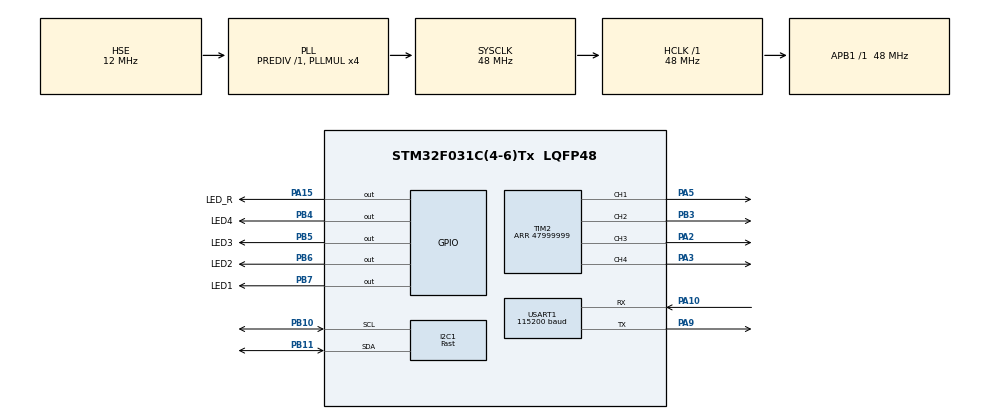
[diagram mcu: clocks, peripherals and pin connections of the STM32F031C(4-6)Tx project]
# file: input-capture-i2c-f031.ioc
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ADC.LowPowerAutoPowerOff=ENABLE
ADC.LowPowerAutoWait=ENABLE
ADC.SamplingTime=ADC_SAMPLETIME_239CYCLES_5
I2C1.I2C_Speed_Mode=I2C_Fast
I2C1.OwnAddress=4
I2C1.Timing=0x2010091A
Mcu.Family=STM32F0
Mcu.Name=STM32F031C(4-6)Tx
Mcu.Package=LQFP48
NVIC.ADC1_IRQn=true\:3\:0\:true\:false\:true\:true\:true\:true
NVIC.I2C1_IRQn=true\:1\:0\:true\:false\:true\:true\:true\:true
NVIC.TIM14_IRQn=true\:2\:0\:true\:false\:true\:true\:true\:true
NVIC.TIM2_IRQn=true\:0\:0\:false\:false\:true\:true\:true\:true
NVIC.USART1_IRQn=true\:3\:0\:true\:false\:true\:true\:true\:true
PA10.Mode=Asynchronous
PA10.Signal=USART1_RX
PA13.Mode=Serial_Wire
PA13.Signal=SYS_SWDIO
PA14.Mode=Serial_Wire
PA14.Signal=SYS_SWCLK
PA15.GPIO_Label=LED_R
PA15.Signal=GPIO_Output
PA2.Signal=S_TIM2_CH3
PA3.Signal=S_TIM2_CH4
PA5.Signal=S_TIM2_CH1_ETR
PA9.Mode=Asynchronous
PA9.Signal=USART1_TX
PB10.GPIO_Pu=GPIO_PULLUP
PB10.Mode=I2C
PB10.Signal=I2C1_SCL
PB11.GPIO_Pu=GPIO_PULLUP
PB11.Mode=I2C
PB11.Signal=I2C1_SDA
PB3.Signal=S_TIM2_CH2
PB4.GPIO_Label=LED4
PB4.Signal=GPIO_Output
PB5.GPIO_Label=LED3
PB5.Signal=GPIO_Output
PB6.GPIO_Label=LED2
PB6.Signal=GPIO_Output
PB7.GPIO_Label=LED1
PB7.Signal=GPIO_Output
PC14-OSC32_IN.Mode=LSE-External-Oscillator
PC14-OSC32_IN.Signal=RCC_OSC32_IN
PC15-OSC32_OUT.Mode=LSE-External-Oscillator
PC15-OSC32_OUT.Signal=RCC_OSC32_OUT
PF0-OSC_IN.Mode=HSE-External-Clock-Source
PF0-OSC_IN.Signal=RCC_OSC_IN
ProjectManager.HeapSize=0x200
ProjectManager.StackSize=0x400
ProjectManager.TargetToolchain=SW4STM32
RCC.AHBFreq_Value=48000000
RCC.APB1Freq_Value=48000000
RCC.APB1TimFreq_Value=48000000
RCC.HCLKFreq_Value=48000000
RCC.HSE_VALUE=12000000
RCC.I2c1ClockSelection=RCC_I2C1CLKSOURCE_SYSCLK
RCC.LSE_Drive_Capability=RCC_LSEDRIVE_LOW
RCC.PLLMUL=RCC_PLL_MUL4
RCC.PLLSourceVirtual=RCC_PLLSOURCE_HSE
RCC.RCC_MCODiv=RCC_MCODIV_128
RCC.RCC_MCOSource=RCC_MCO1SOURCE_LSE
RCC.RTCClockSelection=RCC_RTCCLKSOURCE_LSE
RCC.SYSCLKFreq_VALUE=48000000
RCC.SYSCLKSource=RCC_SYSCLKSOURCE_PLLCLK
RTC.AsynchPrediv=31
RTC.SynchPrediv=1023
SH.S_TIM2_CH1_ETR.0=TIM2_CH1,PWM Generation1 CH1
SH.S_TIM2_CH2.0=TIM2_CH2,PWM Generation2 CH2
SH.S_TIM2_CH3.0=TIM2_CH3,PWM Generation3 CH3
SH.S_TIM2_CH4.0=TIM2_CH4,PWM Generation4 CH4
TIM14.Channel=TIM_CHANNEL_1
TIM14.ICPrescaler=TIM_ICPSC_DIV8
TIM14.Period=65535
TIM14.Prescaler=0
TIM14.TIM14_TI1_REMAP=TIM_TIM14_MCO
TIM2.Channel-PWM\ Generation1\ CH1=TIM_CHANNEL_1
TIM2.Channel-PWM\ Generation2\ CH2=TIM_CHANNEL_2
TIM2.Channel-PWM\ Generation3\ CH3=TIM_CHANNEL_3
TIM2.Channel-PWM\ Generation4\ CH4=TIM_CHANNEL_4
TIM2.Period=47999999
TIM2.Pulse-PWM\ Generation1\ CH1=48000
TIM2.Pulse-PWM\ Generation2\ CH2=48000
TIM2.Pulse-PWM\ Generation3\ CH3=48000
TIM2.Pulse-PWM\ Generation4\ CH4=48000
TIM2.TIM_MasterOutputTrigger=TIM_TRGO_UPDATE
USART1.BaudRate=115200
USART1.VirtualMode-Asynchronous=VM_ASYNC
VP_ADC_TempSens_Input.Mode=IN-TempSens
VP_ADC_Vbat_Input.Mode=IN-Vbat
VP_ADC_Vref_Input.Mode=IN-Vrefint
VP_RTC_VS_RTC_Activate.Mode=RTC_Enabled
VP_TIM14_VS_ClockSourceINT.Mode=Enable_Timer
VP_TIM14_VS_NoInput1.Mode=Input_Capture1_from_TI1_REMAP_TIM14
VP_TIM2_VS_ClockSourceINT.Mode=Internal
board=input-capture-i2c-f031

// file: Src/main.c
/* USER CODE BEGIN Header */
/**
  ******************************************************************************
  * @file           : main.c
  * @brief          : Main program body
  ******************************************************************************
  * @attention
  *
  * Copyright (c) 2022 STMicroelectronics.
  * All rights reserved.
  *
  * This software is licensed under terms that can be found in the LICENSE file
  * in the root directory of this software component.
  * If no LICENSE file comes with this software, it is provided AS-IS.
  *
  ******************************************************************************
  */
/* USER CODE END Header */
#include "main.h"

/* USER CODE BEGIN Includes */
#include "uart.h"
#include "timer.h"
#include "i2c_slave.h"
#include "adc.h"
/* USER CODE END Includes */

 ADC_HandleTypeDef hadc;

I2C_HandleTypeDef hi2c1;

RTC_HandleTypeDef hrtc;

TIM_HandleTypeDef htim2;
TIM_HandleTypeDef htim14;

UART_HandleTypeDef huart1;

/* USER CODE BEGIN PV */
/* Private variables ---------------------------------------------------------*/

/* USER CODE END PV */

void SystemClock_Config(void);
static void MX_GPIO_Init(void);
static void MX_ADC_Init(void);
static void MX_I2C1_Init(void);
static void MX_RTC_Init(void);
static void MX_TIM2_Init(void);
static void MX_TIM14_Init(void);
static void MX_USART1_UART_Init(void);
/* USER CODE BEGIN PFP */
/* Private function prototypes -----------------------------------------------*/

/* USER CODE END PFP */

int main(void)
{

  /* MCU Configuration--------------------------------------------------------*/

  /* Reset of all peripherals, Initializes the Flash interface and the Systick. */
  HAL_Init();

  /* Configure the system clock */
  SystemClock_Config();

  /* Initialize all configured peripherals */
  MX_GPIO_Init();
  MX_ADC_Init();
  MX_I2C1_Init();
  MX_RTC_Init();
  MX_TIM2_Init();
  MX_TIM14_Init();
  MX_USART1_UART_Init();
  /* USER CODE BEGIN 2 */
  HAL_ADCEx_Calibration_Start(&hadc);
  i2c_slave_start();
  timer_start();
  rtc_start();
  /* USER CODE END 2 */

  /* Infinite loop */
  while (1)
  {

    /* USER CODE BEGIN 3 */
#define COUNT_PER_MS 48000
    uint32_t next_adc = 50 * COUNT_PER_MS; // start at 50ms
    while(1) {
      while(__HAL_TIM_GET_COUNTER(&htim2) < next_adc) { }
      adc_poll();
      next_adc += 100 * COUNT_PER_MS; // every 100ms
      if(next_adc > 1000 * COUNT_PER_MS) {
        break;
      }
    }
    // happens after 950ms
    update_adc();

    adjust_pps();

    // wait till wrap to 0ms
    while(__HAL_TIM_GET_COUNTER(&htim2) >= 950 * COUNT_PER_MS) { }
  }
  /* USER CODE END 3 */
}

void SystemClock_Config(void)
{
  RCC_OscInitTypeDef RCC_OscInitStruct = {0};
  RCC_ClkInitTypeDef RCC_ClkInitStruct = {0};
  RCC_PeriphCLKInitTypeDef PeriphClkInit = {0};

  /** Configure LSE Drive Capability
  */
  HAL_PWR_EnableBkUpAccess();
  __HAL_RCC_LSEDRIVE_CONFIG(RCC_LSEDRIVE_LOW);

  /** Initializes the RCC Oscillators according to the specified parameters
  * in the RCC_OscInitTypeDef structure.
  */
  RCC_OscInitStruct.OscillatorType = RCC_OSCILLATORTYPE_HSI14|RCC_OSCILLATORTYPE_HSE
                              |RCC_OSCILLATORTYPE_LSE;
  RCC_OscInitStruct.HSEState = RCC_HSE_BYPASS;
  RCC_OscInitStruct.LSEState = RCC_LSE_ON;
  RCC_OscInitStruct.HSI14State = RCC_HSI14_ON;
  RCC_OscInitStruct.HSI14CalibrationValue = 16;
  RCC_OscInitStruct.PLL.PLLState = RCC_PLL_ON;
  RCC_OscInitStruct.PLL.PLLSource = RCC_PLLSOURCE_HSE;
  RCC_OscInitStruct.PLL.PLLMUL = RCC_PLL_MUL4;
  RCC_OscInitStruct.PLL.PREDIV = RCC_PREDIV_DIV1;
  if (HAL_RCC_OscConfig(&RCC_OscInitStruct) != HAL_OK)
  {
    Error_Handler();
  }

  /** Initializes the CPU, AHB and APB buses clocks
  */
  RCC_ClkInitStruct.ClockType = RCC_CLOCKTYPE_HCLK|RCC_CLOCKTYPE_SYSCLK
                              |RCC_CLOCKTYPE_PCLK1;
  RCC_ClkInitStruct.SYSCLKSource = RCC_SYSCLKSOURCE_PLLCLK;
  RCC_ClkInitStruct.AHBCLKDivider = RCC_SYSCLK_DIV1;
  RCC_ClkInitStruct.APB1CLKDivider = RCC_HCLK_DIV1;

  if (HAL_RCC_ClockConfig(&RCC_ClkInitStruct, FLASH_LATENCY_1) != HAL_OK)
  {
    Error_Handler();
  }
  PeriphClkInit.PeriphClockSelection = RCC_PERIPHCLK_USART1|RCC_PERIPHCLK_I2C1
                              |RCC_PERIPHCLK_RTC;
  PeriphClkInit.Usart1ClockSelection = RCC_USART1CLKSOURCE_PCLK1;
  PeriphClkInit.I2c1ClockSelection = RCC_I2C1CLKSOURCE_SYSCLK;
  PeriphClkInit.RTCClockSelection = RCC_RTCCLKSOURCE_LSE;
  if (HAL_RCCEx_PeriphCLKConfig(&PeriphClkInit) != HAL_OK)
  {
    Error_Handler();
  }
  HAL_RCC_MCOConfig(RCC_MCO, RCC_MCO1SOURCE_LSE, RCC_MCODIV_128);
}

static void MX_ADC_Init(void)
{

  ADC_ChannelConfTypeDef sConfig = {0};

  /** Configure the global features of the ADC (Clock, Resolution, Data Alignment and number of conversion)
  */
  hadc.Instance = ADC1;
  hadc.Init.ClockPrescaler = ADC_CLOCK_ASYNC_DIV1;
  hadc.Init.Resolution = ADC_RESOLUTION_12B;
  hadc.Init.DataAlign = ADC_DATAALIGN_RIGHT;
  hadc.Init.ScanConvMode = ADC_SCAN_DIRECTION_FORWARD;
  hadc.Init.EOCSelection = ADC_EOC_SINGLE_CONV;
  hadc.Init.LowPowerAutoWait = ENABLE;
  hadc.Init.LowPowerAutoPowerOff = ENABLE;
  hadc.Init.ContinuousConvMode = DISABLE;
  hadc.Init.DiscontinuousConvMode = DISABLE;
  hadc.Init.ExternalTrigConv = ADC_SOFTWARE_START;
  hadc.Init.ExternalTrigConvEdge = ADC_EXTERNALTRIGCONVEDGE_NONE;
  hadc.Init.DMAContinuousRequests = DISABLE;
  hadc.Init.Overrun = ADC_OVR_DATA_PRESERVED;
  if (HAL_ADC_Init(&hadc) != HAL_OK)
  {
    Error_Handler();
  }

  /** Configure for the selected ADC regular channel to be converted.
  */
  sConfig.Channel = ADC_CHANNEL_TEMPSENSOR;
  sConfig.Rank = ADC_RANK_CHANNEL_NUMBER;
  sConfig.SamplingTime = ADC_SAMPLETIME_239CYCLES_5;
  if (HAL_ADC_ConfigChannel(&hadc, &sConfig) != HAL_OK)
  {
    Error_Handler();
  }

  /** Configure for the selected ADC regular channel to be converted.
  */
  sConfig.Channel = ADC_CHANNEL_VREFINT;
  if (HAL_ADC_ConfigChannel(&hadc, &sConfig) != HAL_OK)
  {
    Error_Handler();
  }

  /** Configure for the selected ADC regular channel to be converted.
  */
  sConfig.Channel = ADC_CHANNEL_VBAT;
  if (HAL_ADC_ConfigChannel(&hadc, &sConfig) != HAL_OK)
  {
    Error_Handler();
  }

}

static void MX_I2C1_Init(void)
{

  hi2c1.Instance = I2C1;
  hi2c1.Init.Timing = 0x2010091A;
  hi2c1.Init.OwnAddress1 = 8;
  hi2c1.Init.AddressingMode = I2C_ADDRESSINGMODE_7BIT;
  hi2c1.Init.DualAddressMode = I2C_DUALADDRESS_DISABLE;
  hi2c1.Init.OwnAddress2 = 0;
  hi2c1.Init.OwnAddress2Masks = I2C_OA2_NOMASK;
  hi2c1.Init.GeneralCallMode = I2C_GENERALCALL_DISABLE;
  hi2c1.Init.NoStretchMode = I2C_NOSTRETCH_DISABLE;
  if (HAL_I2C_Init(&hi2c1) != HAL_OK)
  {
    Error_Handler();
  }

  /** Configure Analogue filter
  */
  if (HAL_I2CEx_ConfigAnalogFilter(&hi2c1, I2C_ANALOGFILTER_ENABLE) != HAL_OK)
  {
    Error_Handler();
  }

  /** Configure Digital filter
  */
  if (HAL_I2CEx_ConfigDigitalFilter(&hi2c1, 0) != HAL_OK)
  {
    Error_Handler();
  }

}

static void MX_RTC_Init(void)
{

  /** Initialize RTC Only
  */
  hrtc.Instance = RTC;
  hrtc.Init.HourFormat = RTC_HOURFORMAT_24;
  hrtc.Init.AsynchPrediv = 31;
  hrtc.Init.SynchPrediv = 1023;
  hrtc.Init.OutPut = RTC_OUTPUT_DISABLE;
  hrtc.Init.OutPutPolarity = RTC_OUTPUT_POLARITY_HIGH;
  hrtc.Init.OutPutType = RTC_OUTPUT_TYPE_OPENDRAIN;
  if (HAL_RTC_Init(&hrtc) != HAL_OK)
  {
    Error_Handler();
  }

}

static void MX_TIM2_Init(void)
{

  TIM_ClockConfigTypeDef sClockSourceConfig = {0};
  TIM_MasterConfigTypeDef sMasterConfig = {0};
  TIM_OC_InitTypeDef sConfigOC = {0};

  htim2.Instance = TIM2;
  htim2.Init.Prescaler = 0;
  htim2.Init.CounterMode = TIM_COUNTERMODE_UP;
  htim2.Init.Period = 47999999;
  htim2.Init.ClockDivision = TIM_CLOCKDIVISION_DIV1;
  htim2.Init.AutoReloadPreload = TIM_AUTORELOAD_PRELOAD_DISABLE;
  if (HAL_TIM_Base_Init(&htim2) != HAL_OK)
  {
    Error_Handler();
  }
  sClockSourceConfig.ClockSource = TIM_CLOCKSOURCE_INTERNAL;
  if (HAL_TIM_ConfigClockSource(&htim2, &sClockSourceConfig) != HAL_OK)
  {
    Error_Handler();
  }
  if (HAL_TIM_PWM_Init(&htim2) != HAL_OK)
  {
    Error_Handler();
  }
  sMasterConfig.MasterOutputTrigger = TIM_TRGO_UPDATE;
  sMasterConfig.MasterSlaveMode = TIM_MASTERSLAVEMODE_DISABLE;
  if (HAL_TIMEx_MasterConfigSynchronization(&htim2, &sMasterConfig) != HAL_OK)
  {
    Error_Handler();
  }
  sConfigOC.OCMode = TIM_OCMODE_PWM1;
  sConfigOC.Pulse = 480000;
  sConfigOC.OCPolarity = TIM_OCPOLARITY_HIGH;
  sConfigOC.OCFastMode = TIM_OCFAST_DISABLE;
  if (HAL_TIM_PWM_ConfigChannel(&htim2, &sConfigOC, TIM_CHANNEL_1) != HAL_OK)
  {
    Error_Handler();
  }
  if (HAL_TIM_PWM_ConfigChannel(&htim2, &sConfigOC, TIM_CHANNEL_2) != HAL_OK)
  {
    Error_Handler();
  }
  if (HAL_TIM_PWM_ConfigChannel(&htim2, &sConfigOC, TIM_CHANNEL_3) != HAL_OK)
  {
    Error_Handler();
  }
  if (HAL_TIM_PWM_ConfigChannel(&htim2, &sConfigOC, TIM_CHANNEL_4) != HAL_OK)
  {
    Error_Handler();
  }
  HAL_TIM_MspPostInit(&htim2);

}

static void MX_TIM14_Init(void)
{

  TIM_IC_InitTypeDef sConfigIC = {0};

  htim14.Instance = TIM14;
  htim14.Init.Prescaler = 0;
  htim14.Init.CounterMode = TIM_COUNTERMODE_UP;
  htim14.Init.Period = 65535;
  htim14.Init.ClockDivision = TIM_CLOCKDIVISION_DIV1;
  htim14.Init.AutoReloadPreload = TIM_AUTORELOAD_PRELOAD_DISABLE;
  if (HAL_TIM_Base_Init(&htim14) != HAL_OK)
  {
    Error_Handler();
  }
  if (HAL_TIM_IC_Init(&htim14) != HAL_OK)
  {
    Error_Handler();
  }
  sConfigIC.ICPolarity = TIM_INPUTCHANNELPOLARITY_RISING;
  sConfigIC.ICSelection = TIM_ICSELECTION_DIRECTTI;
  sConfigIC.ICPrescaler = TIM_ICPSC_DIV8;
  sConfigIC.ICFilter = 0;
  if (HAL_TIM_IC_ConfigChannel(&htim14, &sConfigIC, TIM_CHANNEL_1) != HAL_OK)
  {
    Error_Handler();
  }
  if (HAL_TIMEx_RemapConfig(&htim14, TIM_TIM14_MCO) != HAL_OK)
  {
    Error_Handler();
  }

}

static void MX_USART1_UART_Init(void)
{

  huart1.Instance = USART1;
  huart1.Init.BaudRate = 115200;
  huart1.Init.WordLength = UART_WORDLENGTH_8B;
  huart1.Init.StopBits = UART_STOPBITS_1;
  huart1.Init.Parity = UART_PARITY_NONE;
  huart1.Init.Mode = UART_MODE_TX_RX;
  huart1.Init.HwFlowCtl = UART_HWCONTROL_NONE;
  huart1.Init.OverSampling = UART_OVERSAMPLING_16;
  huart1.Init.OneBitSampling = UART_ONE_BIT_SAMPLE_DISABLE;
  huart1.AdvancedInit.AdvFeatureInit = UART_ADVFEATURE_NO_INIT;
  if (HAL_UART_Init(&huart1) != HAL_OK)
  {
    Error_Handler();
  }

}

static void MX_GPIO_Init(void)
{
  GPIO_InitTypeDef GPIO_InitStruct = {0};

  /* GPIO Ports Clock Enable */
  __HAL_RCC_GPIOC_CLK_ENABLE();
  __HAL_RCC_GPIOF_CLK_ENABLE();
  __HAL_RCC_GPIOA_CLK_ENABLE();
  __HAL_RCC_GPIOB_CLK_ENABLE();

  /*Configure GPIO pin Output Level */
  HAL_GPIO_WritePin(LED_R_GPIO_Port, LED_R_Pin, GPIO_PIN_RESET);

  /*Configure GPIO pin Output Level */
  HAL_GPIO_WritePin(GPIOB, LED4_Pin|LED3_Pin|LED2_Pin|LED1_Pin, GPIO_PIN_RESET);

  /*Configure GPIO pin : LED_R_Pin */
  GPIO_InitStruct.Pin = LED_R_Pin;
  GPIO_InitStruct.Mode = GPIO_MODE_OUTPUT_PP;
  GPIO_InitStruct.Pull = GPIO_NOPULL;
  GPIO_InitStruct.Speed = GPIO_SPEED_FREQ_LOW;
  HAL_GPIO_Init(LED_R_GPIO_Port, &GPIO_InitStruct);

  /*Configure GPIO pins : LED4_Pin LED3_Pin LED2_Pin LED1_Pin */
  GPIO_InitStruct.Pin = LED4_Pin|LED3_Pin|LED2_Pin|LED1_Pin;
  GPIO_InitStruct.Mode = GPIO_MODE_OUTPUT_PP;
  GPIO_InitStruct.Pull = GPIO_NOPULL;
  GPIO_InitStruct.Speed = GPIO_SPEED_FREQ_LOW;
  HAL_GPIO_Init(GPIOB, &GPIO_InitStruct);

}

void Error_Handler(void)
{
  while(1)
  {
  }
}
